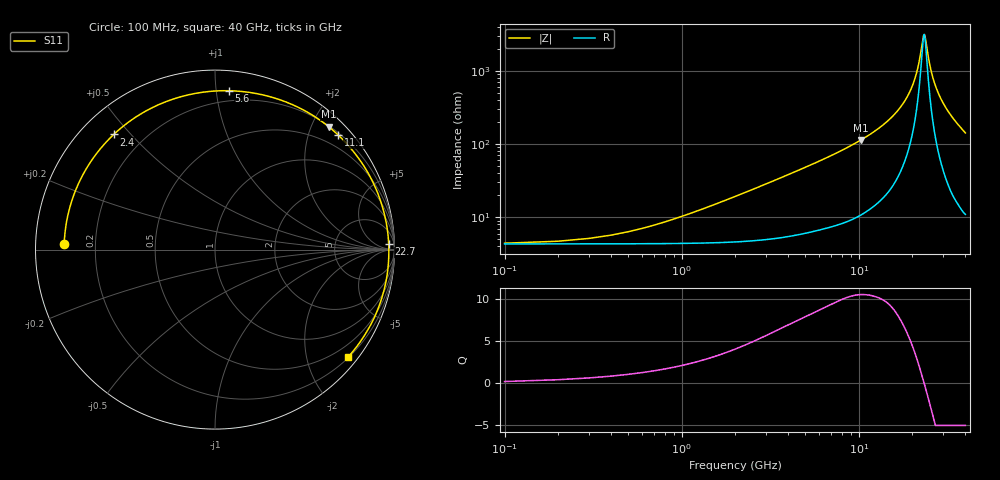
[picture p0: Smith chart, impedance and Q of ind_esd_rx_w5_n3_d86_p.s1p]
#  Hz  S  RI  R  50
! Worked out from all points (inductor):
!   400 points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, 100 MHz to 40 GHz, reference 50 ohm
!   read as one part to ground: L = 1.47 nH near 1.5 GHz
!   highest Q = 10.5 at 10.3 GHz (marker M1), where L = 1.75 nH
!   self-resonance near 23.41 GHz
!   S11 on the Smith chart (normalised r, x): 100 MHz: 0.09, +0.02; 2.4 GHz: 0.09, +0.45; 5.6 GHz: 0.13, +1.08; 11.1 GHz: 0.24, +2.53; 22.7 GHz: 32, +31; 40 GHz: 0.22, -2.83
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1e8  -0.8402 0.0314
6e8  -0.8208 0.1865
1.2e9  -0.7634 0.3614
1.8e9  -0.6749 0.5149
2.4e9  -0.5643 0.6413
3e9  -0.4411 0.7384
3.7e9  -0.2926 0.8166
4.4e9  -0.148 0.8624
5.1e9  -0.013 0.8827
5.6e9  0.0761 0.8852
6.7e9  0.2498 0.8655
7.8e9  0.3945 0.8229
8.9e9  0.5134 0.7665
1.01e10  0.6177 0.6971
1.03e10  0.6328 0.6852
1.11e10  0.6877 0.637
1.3e10  0.7888 0.5239
1.51e10  0.8654 0.4041
1.74e10  0.9189 0.2812
2.01e10  0.9542 0.1487
2.27e10  0.9678 0.0306
2.51e10  0.9666 -0.071
2.75e10  0.9547 -0.1672
3.01e10  0.9305 -0.2658
3.26e10  0.8978 -0.3559
3.51e10  0.8548 -0.4417
3.77e10  0.8007 -0.5256
4e10  0.743 -0.5963
